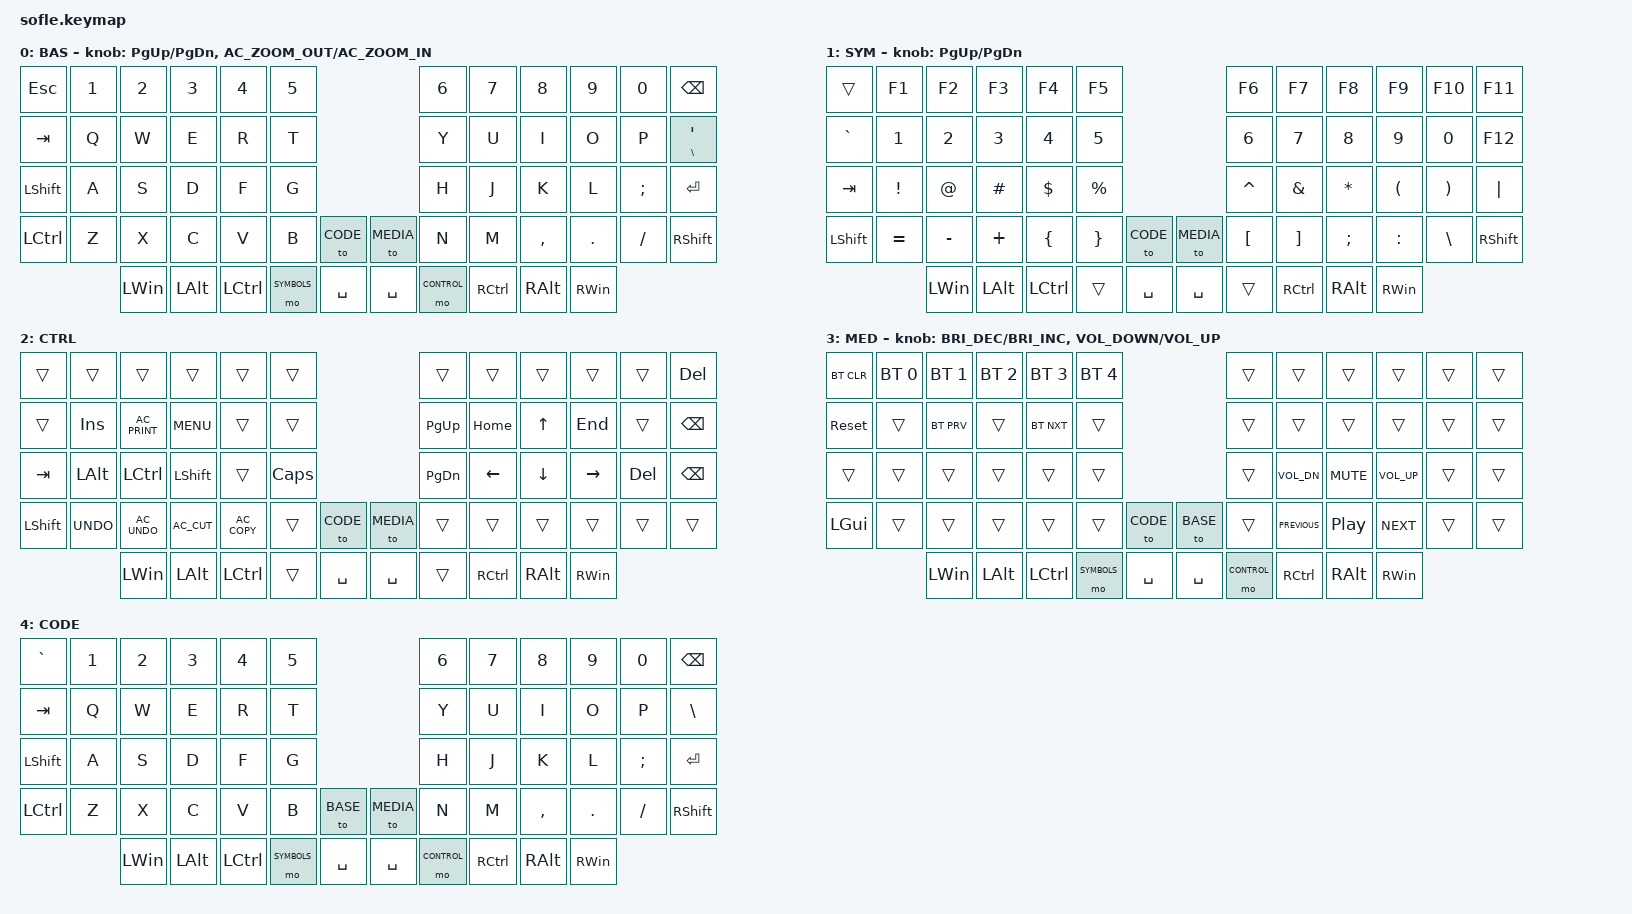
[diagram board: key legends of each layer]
/*
* Copyright (c) 2020 The ZMK Contributors
*
* SPDX-License-Identifier: MIT
*/

#include <behaviors.dtsi>
#include <dt-bindings/zmk/bt.h>
#include <dt-bindings/zmk/keys.h>

#define BASE 0
#define SYMBOLS 1
#define CONTROL 2
#define MEDIA 3
#define CODE 4

/ {
    combos {
        compatible = "zmk,combos";

        Escape {
            bindings = <&kp ESC>;
            key-positions = <0 12>;
            layers = <4>;
        };

        Grave {
            bindings = <&kp GRAVE>;
            key-positions = <0 12>;
            layers = <0>;
        };
    };

    keymap {
        compatible = "zmk,keymap";

        Base {
            display-name = "BAS";
            bindings = <
&kp ESCAPE        &kp N1  &kp N2        &kp N3    &kp N4            &kp N5                               &kp N6       &kp N7             &kp N8     &kp N9         &kp N0    &kp BACKSPACE
&kp TAB           &kp Q   &kp W         &kp E     &kp R             &kp T                                &kp Y        &kp U              &kp I      &kp O          &kp P     &mt BACKSLASH APOSTROPHE
&kp LEFT_SHIFT    &kp A   &kp S         &kp D     &kp F             &kp G                                &kp H        &kp J              &kp K      &kp L          &kp SEMI  &kp RETURN
&kp LEFT_CONTROL  &kp Z   &kp X         &kp C     &kp V             &kp B        &to CODE     &to MEDIA  &kp N        &kp M              &kp COMMA  &kp DOT        &kp FSLH  &kp RSHFT
                          &kp LEFT_WIN  &kp LALT  &kp LEFT_CONTROL  &mo SYMBOLS  &kp SPACE    &kp SPACE  &mo CONTROL  &kp RIGHT_CONTROL  &kp RALT   &kp RIGHT_WIN
            >;

            sensor-bindings =
                <&inc_dec_kp PAGE_UP PAGE_DOWN>,
                <&inc_dec_kp C_AC_ZOOM_OUT C_AC_ZOOM_IN>;
        };

        Symbols {
            display-name = "SYM";
            bindings = <
&trans     &kp F1     &kp F2        &kp F3    &kp F4            &kp F5                                   &kp F6     &kp F7             &kp F8        &kp F9                &kp F10                &kp F11
&kp GRAVE  &kp N1     &kp N2        &kp N3    &kp N4            &kp N5                                   &kp N6     &kp N7             &kp N8        &kp N9                &kp N0                 &kp F12
&kp TAB    &kp EXCL   &kp AT        &kp HASH  &kp DOLLAR        &kp PERCENT                              &kp CARET  &kp AMPERSAND      &kp ASTERISK  &kp LEFT_PARENTHESIS  &kp RIGHT_PARENTHESIS  &kp PIPE
&kp LSHFT  &kp EQUAL  &kp MINUS     &kp PLUS  &kp LEFT_BRACE    &kp RIGHT_BRACE  &to CODE     &to MEDIA  &kp LBKT   &kp RBKT           &kp SEMI      &kp COLON             &kp BSLH               &kp RSHFT
                      &kp LEFT_WIN  &kp LALT  &kp LEFT_CONTROL  &trans           &kp SPACE    &kp SPACE  &trans     &kp RIGHT_CONTROL  &kp RALT      &kp RIGHT_WIN
            >;

            sensor-bindings = <&inc_dec_kp PAGE_UP PAGE_DOWN>;
        };

        Control {
            display-name = "CTRL";
            bindings = <
&trans     &trans        &trans            &trans          &trans            &trans                            &trans         &trans             &trans         &trans         &trans   &kp DELETE
&trans     &kp INS       &kp C_AC_PRINT    &kp C_MENU      &trans            &trans                            &kp PAGE_UP    &kp HOME           &kp UP         &kp END        &trans   &kp BSPC
&kp TAB    &kp LEFT_ALT  &kp LEFT_CONTROL  &kp LEFT_SHIFT  &trans            &kp CAPS                          &kp PAGE_DOWN  &kp LEFT           &kp DOWN       &kp RIGHT      &kp DEL  &kp BSPC
&kp LSHFT  &kp K_UNDO    &kp C_AC_UNDO     &kp C_AC_CUT    &kp C_AC_COPY     &trans    &to CODE     &to MEDIA  &trans         &trans             &trans         &trans         &trans   &trans
                         &kp LEFT_WIN      &kp LALT        &kp LEFT_CONTROL  &trans    &kp SPACE    &kp SPACE  &trans         &kp RIGHT_CONTROL  &kp RIGHT_ALT  &kp RIGHT_WIN
            >;
        };

        Media {
            display-name = "MED";
            bindings = <
&bt BT_CLR  &bt BT_SEL 0  &bt BT_SEL 1  &bt BT_SEL 2  &bt BT_SEL 3      &bt BT_SEL 4                          &trans       &trans             &trans            &trans         &trans  &trans
&sys_reset  &trans        &bt BT_PRV    &trans        &bt BT_NXT        &trans                                &trans       &trans             &trans            &trans         &trans  &trans
&trans      &trans        &trans        &trans        &trans            &trans                                &trans       &kp C_VOL_DN       &kp C_MUTE        &kp C_VOL_UP   &trans  &trans
&kp LGUI    &trans        &trans        &trans        &trans            &trans        &to CODE     &to BASE   &trans       &kp C_PREVIOUS     &kp C_PLAY_PAUSE  &kp C_NEXT     &trans  &trans
                          &kp LEFT_WIN  &kp LALT      &kp LEFT_CONTROL  &mo SYMBOLS   &kp SPACE    &kp SPACE  &mo CONTROL  &kp RIGHT_CONTROL  &kp RIGHT_ALT     &kp RIGHT_WIN
            >;

            sensor-bindings =
                <&inc_dec_kp C_BRIGHTNESS_DEC C_BRIGHTNESS_INC>,
                <&inc_dec_kp C_VOLUME_DOWN C_VOLUME_UP>;
        };

        Code {
            display-name = "CODE";
            bindings = <
&kp GRAVE         &kp N1  &kp N2        &kp N3    &kp N4            &kp N5                               &kp N6       &kp N7             &kp N8     &kp N9         &kp N0    &kp BACKSPACE
&kp TAB           &kp Q   &kp W         &kp E     &kp R             &kp T                                &kp Y        &kp U              &kp I      &kp O          &kp P     &kp BACKSLASH
&kp LEFT_SHIFT    &kp A   &kp S         &kp D     &kp F             &kp G                                &kp H        &kp J              &kp K      &kp L          &kp SEMI  &kp RETURN
&kp LEFT_CONTROL  &kp Z   &kp X         &kp C     &kp V             &kp B        &to BASE     &to MEDIA  &kp N        &kp M              &kp COMMA  &kp DOT        &kp FSLH  &kp RSHFT
                          &kp LEFT_WIN  &kp LALT  &kp LEFT_CONTROL  &mo SYMBOLS  &kp SPACE    &kp SPACE  &mo CONTROL  &kp RIGHT_CONTROL  &kp RALT   &kp RIGHT_WIN
            >;
        };
    };
};
